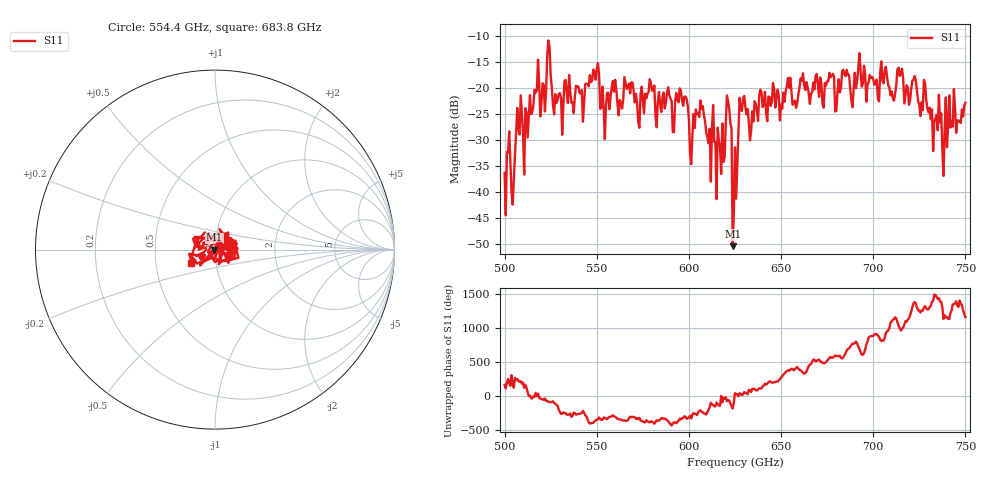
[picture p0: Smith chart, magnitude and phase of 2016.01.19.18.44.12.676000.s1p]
!Created with skrf (http://scikit-rf.org).
# GHz S RI R 50.0
!freq ReS11 ImS11
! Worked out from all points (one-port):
!   401 points, 500 GHz to 750 GHz, reference 50 ohm
!   lowest |S11| = -50.5 dB at 623.8 GHz (marker M1), VSWR 1.01, Z = 49.7 + j0.0201 ohm
!   |S11| at or under -10 dB: start of sweep to end of sweep
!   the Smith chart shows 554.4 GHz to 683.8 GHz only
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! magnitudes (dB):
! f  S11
! 500 GHz  -36.4
! 504.4 GHz  -42.5
! 508.1 GHz  -29.0
! 520.6 GHz  -19.1
! 523.8 GHz  -10.9
! 526.9 GHz  -25.1
! 531.2 GHz  -29.1
! 549.4 GHz  -18.4
! 553.1 GHz  -19.7
! 559.4 GHz  -20.7
! 562.5 GHz  -22.3
! 593.8 GHz  -22.2
! 601.9 GHz  -29.2
! 607.5 GHz  -23.5
! 616.2 GHz  -30.2
! 621.9 GHz  -24.1
! 623.8 GHz  -50.5
! 625 GHz  -31.5
! 628.8 GHz  -24.4
! 633.8 GHz  -28.3
! 656.2 GHz  -23.2
! 687.5 GHz  -20.1
! 705.6 GHz  -19.1
! 710.6 GHz  -21.9
! 714.4 GHz  -17.7
! 718.8 GHz  -19.9
! 738.8 GHz  -28.0
! 750 GHz  -22.9
